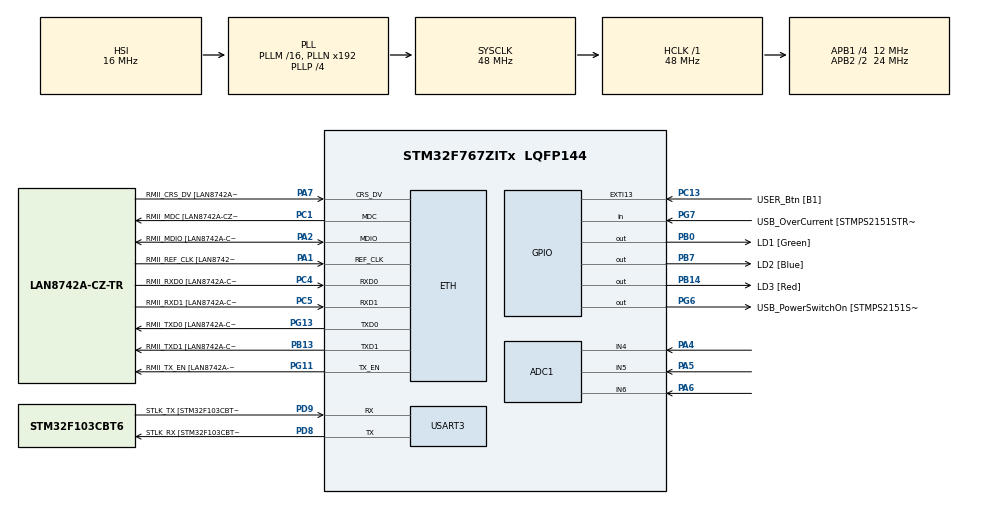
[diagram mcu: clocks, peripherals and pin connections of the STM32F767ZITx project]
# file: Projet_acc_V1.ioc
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ADC1.Channel-0\#ChannelRegularConversion=ADC_CHANNEL_4
ADC1.Channel-1\#ChannelRegularConversion=ADC_CHANNEL_4
ADC1.Channel-3\#ChannelRegularConversion=ADC_CHANNEL_4
ADC1.DMAContinuousRequests=ENABLE
ADC1.ExternalTrigConv=ADC_EXTERNALTRIGCONV_T2_TRGO
ADC1.NbrOfConversion=3
ADC1.NbrOfConversionFlag=1
ADC1.Rank-0\#ChannelRegularConversion=1
ADC1.Rank-1\#ChannelRegularConversion=2
ADC1.Rank-3\#ChannelRegularConversion=3
ADC1.SamplingTime-0\#ChannelRegularConversion=ADC_SAMPLETIME_3CYCLES
ADC1.SamplingTime-1\#ChannelRegularConversion=ADC_SAMPLETIME_3CYCLES
ADC1.SamplingTime-3\#ChannelRegularConversion=ADC_SAMPLETIME_3CYCLES
ADC1.ScanConvMode=ADC_SCAN_ENABLE
ADC1.master=1
Dma.ADC1.0.Direction=DMA_PERIPH_TO_MEMORY
Dma.ADC1.0.FIFOMode=DMA_FIFOMODE_DISABLE
Dma.ADC1.0.Instance=DMA2_Stream0
Dma.ADC1.0.MemDataAlignment=DMA_MDATAALIGN_HALFWORD
Dma.ADC1.0.MemInc=DMA_MINC_ENABLE
Dma.ADC1.0.Mode=DMA_CIRCULAR
Dma.ADC1.0.PeriphDataAlignment=DMA_PDATAALIGN_HALFWORD
Dma.ADC1.0.PeriphInc=DMA_PINC_DISABLE
Dma.ADC1.0.Priority=DMA_PRIORITY_LOW
Dma.Request0=ADC1
ETH.MACAddr=00\:80\:E1\:00\:00\:0B
ETH.MediaInterface=HAL_ETH_RMII_MODE
FREERTOS.Mutexes01=uartMutex,Dynamic,NULL,Available
FREERTOS.Queues01=messageQueue,16,uint32_t,0,Dynamic,NULL,NULL
FREERTOS.Tasks01=defaultTask,0,256,StartDefaultTask,Default,NULL,Dynamic,NULL,NULL;logMessageTask,0,256,LogMessageTask,Default,NULL,Dynamic,NULL,NULL;clientTask,-1,256,StartClientTask,Default,NULL,Dynamic,NULL,NULL;serverTask,-1,256,StartServerTask,Default,NULL,Dynamic,NULL,NULL;heartBeatTask,-3,256,StartHeartBeatTask,Default,NULL,Dynamic,NULL,NULL
FREERTOS.configUSE_NEWLIB_REENTRANT=1
FREERTOS.configUSE_TIMERS=0
LWIP.BSP.number=1
LWIP.GATEWAY_ADDRESS=192.168.001.001
LWIP.IP_ADDRESS=192.168.001.190
LWIP.IP_FORWARD_ALLOW_TX_ON_RX_NETIF=1
LWIP.IP_SOF_BROADCAST=1
LWIP.IP_SOF_BROADCAST_RECV=1
LWIP.LWIP_DHCP=0
LWIP.LWIP_DNS=1
LWIP.LWIP_ICMP=1
LWIP.LWIP_RAW=0
LWIP.LWIP_SINGLE_NETIF=0
LWIP.LWIP_SO_RCVTIMEO=1
LWIP.LWIP_SO_SNDTIMEO=0
LWIP.LWIP_TCPIP_CORE_LOCKING=0
LWIP.MEM_SIZE=16000
LWIP.NETMASK_ADDRESS=255.255.000.000
LWIP.Version=v2.1.2_Cube
LWIP0.BSP.STBoard=false
LWIP0.BSP.api=BSP_COMPONENT_DRIVER
LWIP0.BSP.component=LAN8742
LWIP0.BSP.instance=LAN8742
LWIP0.BSP.name=Driver_PHY
LWIP0.BSP.semaphore=S_LAN8742
LWIP0.BSP.solution=LAN8742
Mcu.Family=STM32F7
Mcu.Name=STM32F767ZITx
Mcu.Package=LQFP144
NVIC.DMA2_Stream0_IRQn=true\:5\:0\:false\:false\:true\:true\:false\:true\:true
NVIC.ETH_IRQn=true\:5\:0\:false\:false\:true\:true\:false\:true\:true
NVIC.PriorityGroup=NVIC_PRIORITYGROUP_4
NVIC.TIM1_UP_TIM10_IRQn=true\:15\:0\:false\:false\:true\:false\:false\:true\:true
NVIC.TimeBase=TIM1_UP_TIM10_IRQn
NVIC.TimeBaseIP=TIM1
PA1.GPIO_Label=RMII_REF_CLK [LAN8742A-CZ-TR_REFCLK0]
PA1.Mode=RMII
PA1.Signal=ETH_REF_CLK
PA10.GPIO_Label=USB_ID
PA10.Signal=USB_OTG_FS_ID
PA11.GPIO_Label=USB_DM
PA11.Signal=USB_OTG_FS_DM
PA12.GPIO_Label=USB_DP
PA12.Signal=USB_OTG_FS_DP
PA13.GPIO_Label=TMS
PA13.Signal=SYS_JTMS-SWDIO
PA14.GPIO_Label=TCK
PA14.Signal=SYS_JTCK-SWCLK
PA2.GPIO_Label=RMII_MDIO [LAN8742A-CZ-TR_MDIO]
PA2.Mode=RMII
PA2.Signal=ETH_MDIO
PA4.Signal=ADCx_IN4
PA5.Signal=ADCx_IN5
PA6.Signal=ADCx_IN6
PA7.GPIO_Label=RMII_CRS_DV [LAN8742A-CZ-TR_CRS_DV]
PA7.Mode=RMII
PA7.Signal=ETH_CRS_DV
PA8.GPIO_Label=USB_SOF [TP1]
PA8.Signal=USB_OTG_FS_SOF
PA9.GPIO_Label=USB_VBUS
PA9.Signal=USB_OTG_FS_VBUS
PB0.GPIO_Label=LD1 [Green]
PB0.Signal=GPIO_Output
PB13.GPIO_Label=RMII_TXD1 [LAN8742A-CZ-TR_TXD1]
PB13.Mode=RMII
PB13.Signal=ETH_TXD1
PB14.GPIO_Label=LD3 [Red]
PB14.Signal=GPIO_Output
PB3.GPIO_Label=SW0
PB3.Signal=SYS_JTDO-SWO
PB7.GPIO_Label=LD2 [Blue]
PB7.Signal=GPIO_Output
PC1.GPIO_Label=RMII_MDC [LAN8742A-CZ-TR_MDC]
PC1.Mode=RMII
PC1.Signal=ETH_MDC
PC13.GPIO_Label=USER_Btn [B1]
PC13.Signal=GPXTI13
PC14/OSC32_IN.Signal=RCC_OSC32_IN
PC15/OSC32_OUT.Signal=RCC_OSC32_OUT
PC4.GPIO_Label=RMII_RXD0 [LAN8742A-CZ-TR_RXD0]
PC4.Mode=RMII
PC4.Signal=ETH_RXD0
PC5.GPIO_Label=RMII_RXD1 [LAN8742A-CZ-TR_RXD1]
PC5.Mode=RMII
PC5.Signal=ETH_RXD1
PD8.GPIO_Label=STLK_RX [STM32F103CBT6_PA3]
PD8.Mode=Asynchronous
PD8.Signal=USART3_TX
PD9.GPIO_Label=STLK_TX [STM32F103CBT6_PA2]
PD9.Mode=Asynchronous
PD9.Signal=USART3_RX
PG11.GPIO_Label=RMII_TX_EN [LAN8742A-CZ-TR_TXEN]
PG11.Mode=RMII
PG11.Signal=ETH_TX_EN
PG13.GPIO_Label=RMII_TXD0 [LAN8742A-CZ-TR_TXD0]
PG13.Mode=RMII
PG13.Signal=ETH_TXD0
PG6.GPIO_Label=USB_PowerSwitchOn [STMPS2151STR_EN]
PG6.Signal=GPIO_Output
PG7.GPIO_Label=USB_OverCurrent [STMPS2151STR_FAULT]
PG7.Signal=GPIO_Input
PH0/OSC_IN.GPIO_Label=MCO [STM32F103CBT6_PA8]
PH0/OSC_IN.Signal=RCC_OSC_IN
PH1/OSC_OUT.Signal=RCC_OSC_OUT
ProjectManager.HeapSize=0x200
ProjectManager.StackSize=0x400
ProjectManager.TargetToolchain=STM32CubeIDE
RCC.48MHZClocksFreq_Value=24000000
RCC.AHBFreq_Value=48000000
RCC.APB1CLKDivider=RCC_HCLK_DIV4
RCC.APB1Freq_Value=12000000
RCC.APB1TimFreq_Value=24000000
RCC.APB2CLKDivider=RCC_HCLK_DIV2
RCC.APB2Freq_Value=24000000
RCC.APB2TimFreq_Value=48000000
RCC.CortexFreq_Value=48000000
RCC.HCLKFreq_Value=48000000
RCC.HSE_VALUE=25000000
RCC.HSI_VALUE=16000000
RCC.LSE_VALUE=32768
RCC.PLLMUL=RCC_PLL_MUL9
RCC.PLLP=RCC_PLLP_DIV4
RCC.PRESCALERUSB=RCC_USBCLKSOURCE_PLL_DIV1_5
RCC.SYSCLKFreq_VALUE=48000000
RCC.SYSCLKSource=RCC_SYSCLKSOURCE_PLLCLK
RCC.SYSCLKSourceVirtual=RCC_SYSCLKSOURCE_PLLCLK
RCC.USART3CLockSelection=RCC_USART3CLKSOURCE_HSI
RCC.USBFreq_Value=96000000
RCC.VCOOutputFreq_Value=192000000
SH.ADCx_IN4.0=ADC1_IN4,IN4
SH.ADCx_IN5.0=ADC1_IN5,IN5
SH.ADCx_IN6.0=ADC1_IN6,IN6
TIM2.Period=99
TIM2.Prescaler=2399
TIM2.TIM_MasterOutputTrigger=TIM_TRGO_UPDATE
USART3.VirtualMode-Asynchronous=VM_ASYNC
VP_FREERTOS_VS_CMSIS_V1.Mode=CMSIS_V1
VP_LWIP_VS_Enabled.Mode=Enabled
VP_RTC_VS_RTC_Activate.Mode=RTC_Enabled
VP_RTC_VS_RTC_Calendar.Mode=RTC_Calendar
VP_SYS_VS_tim1.Mode=TIM1
VP_TIM2_VS_ClockSourceINT.Mode=Internal
board=NUCLEO-F767ZI

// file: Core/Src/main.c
/* USER CODE BEGIN Header */
/* USER CODE END Header */
#include "main.h"
#include "cmsis_os.h"
#include "lwip.h"

/* USER CODE BEGIN Includes */
#include <stdio.h>
#include <string.h>
#include <stdarg.h>

#include "lwip/udp.h"
#include "lwip/ip_addr.h"
#include "lwip/netif.h"
#include "lwip/timeouts.h"   // sys_now()

/* USER CODE END Includes */

ADC_HandleTypeDef hadc1;
DMA_HandleTypeDef hdma_adc1;

RTC_HandleTypeDef hrtc;

TIM_HandleTypeDef htim2;

UART_HandleTypeDef huart3;

osThreadId defaultTaskHandle;
osThreadId logMessageTaskHandle;
osThreadId clientTaskHandle;
osThreadId serverTaskHandle;
osThreadId heartBeatTaskHandle;
osMessageQId messageQueueHandle;
osMutexId uartMutexHandle;
/* USER CODE BEGIN PV */

// ====== ADC DMA acquisition ======
static uint16_t adc_dma_buf[3];          // 3 axes (X,Y,Z)
static volatile uint32_t sample_counter = 0;

// Handle FreeRTOS pour notifier la tâche d'acquisition depuis l'ISR
static TaskHandle_t acquisitionTaskHandle_freertos = NULL;

// ====== Réseau prêt ? ======
static volatile uint8_t net_ready = 0;

// ====== UDP presence ======
static struct udp_pcb *presence_pcb = NULL;

// ====== ID nœud ======
static const char *NODE_ID = "nucleo-01";

/* USER CODE END PV */

void SystemClock_Config(void);
static void MX_GPIO_Init(void);
static void MX_DMA_Init(void);
static void MX_USART3_UART_Init(void);
static void MX_RTC_Init(void);
static void MX_ADC1_Init(void);
static void MX_TIM2_Init(void);
void StartDefaultTask(void const * argument);
void LogMessageTask(void const * argument);
void StartClientTask(void const * argument);
void StartServerTask(void const * argument);
void StartHeartBeatTask(void const * argument);

/* USER CODE BEGIN 0 */

static void log_enqueue(const char *fmt, ...)
{
  // Alloue un message (pointeur envoyé dans la queue)
  char *msg = (char*)pvPortMalloc(160);
  if (!msg) return;

  va_list args;
  va_start(args, fmt);
  vsnprintf(msg, 160, fmt, args);
  va_end(args);

  // On push le pointeur dans la queue CMSIS (uint32_t)
  osMessagePut(messageQueueHandle, (uint32_t)msg, 0);
}

/* USER CODE END 0 */

int main(void)
{

  /* MCU Configuration--------------------------------------------------------*/

  /* Reset of all peripherals, Initializes the Flash interface and the Systick. */
  HAL_Init();

  /* Configure the system clock */
  SystemClock_Config();

  /* Initialize all configured peripherals */
  MX_GPIO_Init();
  MX_DMA_Init();
  MX_USART3_UART_Init();
  MX_RTC_Init();
  MX_ADC1_Init();
  MX_TIM2_Init();

  /* Create the mutex(es) */
  /* definition and creation of uartMutex */
  osMutexDef(uartMutex);
  uartMutexHandle = osMutexCreate(osMutex(uartMutex));

  /* Create the queue(s) */
  /* definition and creation of messageQueue */
  osMessageQDef(messageQueue, 16, uint32_t);
  messageQueueHandle = osMessageCreate(osMessageQ(messageQueue), NULL);

  /* Create the thread(s) */
  /* definition and creation of defaultTask */
  osThreadDef(defaultTask, StartDefaultTask, osPriorityNormal, 0, 256);
  defaultTaskHandle = osThreadCreate(osThread(defaultTask), NULL);

  /* definition and creation of logMessageTask */
  osThreadDef(logMessageTask, LogMessageTask, osPriorityNormal, 0, 256);
  logMessageTaskHandle = osThreadCreate(osThread(logMessageTask), NULL);

  /* definition and creation of clientTask */
  osThreadDef(clientTask, StartClientTask, osPriorityBelowNormal, 0, 256);
  clientTaskHandle = osThreadCreate(osThread(clientTask), NULL);

  /* definition and creation of serverTask */
  osThreadDef(serverTask, StartServerTask, osPriorityBelowNormal, 0, 256);
  serverTaskHandle = osThreadCreate(osThread(serverTask), NULL);

  /* definition and creation of heartBeatTask */
  osThreadDef(heartBeatTask, StartHeartBeatTask, osPriorityIdle, 0, 256);
  heartBeatTaskHandle = osThreadCreate(osThread(heartBeatTask), NULL);

  /* Start scheduler */
  osKernelStart();

  /* We should never get here as control is now taken by the scheduler */

  /* Infinite loop */

}

void SystemClock_Config(void)
{
  RCC_OscInitTypeDef RCC_OscInitStruct = {0};
  RCC_ClkInitTypeDef RCC_ClkInitStruct = {0};

  /** Configure the main internal regulator output voltage
  */
  __HAL_RCC_PWR_CLK_ENABLE();
  __HAL_PWR_VOLTAGESCALING_CONFIG(PWR_REGULATOR_VOLTAGE_SCALE3);

  /** Initializes the RCC Oscillators according to the specified parameters
  * in the RCC_OscInitTypeDef structure.
  */
  RCC_OscInitStruct.OscillatorType = RCC_OSCILLATORTYPE_HSI|RCC_OSCILLATORTYPE_LSI;
  RCC_OscInitStruct.HSIState = RCC_HSI_ON;
  RCC_OscInitStruct.HSICalibrationValue = RCC_HSICALIBRATION_DEFAULT;
  RCC_OscInitStruct.LSIState = RCC_LSI_ON;
  RCC_OscInitStruct.PLL.PLLState = RCC_PLL_ON;
  RCC_OscInitStruct.PLL.PLLSource = RCC_PLLSOURCE_HSI;
  RCC_OscInitStruct.PLL.PLLM = 16;
  RCC_OscInitStruct.PLL.PLLN = 192;
  RCC_OscInitStruct.PLL.PLLP = RCC_PLLP_DIV4;
  RCC_OscInitStruct.PLL.PLLQ = 2;
  RCC_OscInitStruct.PLL.PLLR = 2;
  if (HAL_RCC_OscConfig(&RCC_OscInitStruct) != HAL_OK)
  {
    Error_Handler();
  }

  /** Initializes the CPU, AHB and APB buses clocks
  */
  RCC_ClkInitStruct.ClockType = RCC_CLOCKTYPE_HCLK|RCC_CLOCKTYPE_SYSCLK
                              |RCC_CLOCKTYPE_PCLK1|RCC_CLOCKTYPE_PCLK2;
  RCC_ClkInitStruct.SYSCLKSource = RCC_SYSCLKSOURCE_PLLCLK;
  RCC_ClkInitStruct.AHBCLKDivider = RCC_SYSCLK_DIV1;
  RCC_ClkInitStruct.APB1CLKDivider = RCC_HCLK_DIV4;
  RCC_ClkInitStruct.APB2CLKDivider = RCC_HCLK_DIV2;

  if (HAL_RCC_ClockConfig(&RCC_ClkInitStruct, FLASH_LATENCY_1) != HAL_OK)
  {
    Error_Handler();
  }
}

static void MX_ADC1_Init(void)
{

  ADC_ChannelConfTypeDef sConfig = {0};

  /** Configure the global features of the ADC (Clock, Resolution, Data Alignment and number of conversion)
  */
  hadc1.Instance = ADC1;
  hadc1.Init.ClockPrescaler = ADC_CLOCK_SYNC_PCLK_DIV2;
  hadc1.Init.Resolution = ADC_RESOLUTION_12B;
  hadc1.Init.ScanConvMode = ADC_SCAN_ENABLE;
  hadc1.Init.ContinuousConvMode = DISABLE;
  hadc1.Init.DiscontinuousConvMode = DISABLE;
  hadc1.Init.ExternalTrigConvEdge = ADC_EXTERNALTRIGCONVEDGE_RISING;
  hadc1.Init.ExternalTrigConv = ADC_EXTERNALTRIGCONV_T2_TRGO;
  hadc1.Init.DataAlign = ADC_DATAALIGN_RIGHT;
  hadc1.Init.NbrOfConversion = 3;
  hadc1.Init.DMAContinuousRequests = ENABLE;
  hadc1.Init.EOCSelection = ADC_EOC_SINGLE_CONV;
  if (HAL_ADC_Init(&hadc1) != HAL_OK)
  {
    Error_Handler();
  }

  /** Configure for the selected ADC regular channel its corresponding rank in the sequencer and its sample time.
  */
  sConfig.Channel = ADC_CHANNEL_4;
  sConfig.Rank = ADC_REGULAR_RANK_1;
  sConfig.SamplingTime = ADC_SAMPLETIME_3CYCLES;
  if (HAL_ADC_ConfigChannel(&hadc1, &sConfig) != HAL_OK)
  {
    Error_Handler();
  }

  /** Configure for the selected ADC regular channel its corresponding rank in the sequencer and its sample time.
  */
  sConfig.Rank = ADC_REGULAR_RANK_2;
  if (HAL_ADC_ConfigChannel(&hadc1, &sConfig) != HAL_OK)
  {
    Error_Handler();
  }

  /** Configure for the selected ADC regular channel its corresponding rank in the sequencer and its sample time.
  */
  sConfig.Rank = ADC_REGULAR_RANK_3;
  if (HAL_ADC_ConfigChannel(&hadc1, &sConfig) != HAL_OK)
  {
    Error_Handler();
  }

}

static void MX_RTC_Init(void)
{

  RTC_TimeTypeDef sTime = {0};
  RTC_DateTypeDef sDate = {0};

  /** Initialize RTC Only
  */
  hrtc.Instance = RTC;
  hrtc.Init.HourFormat = RTC_HOURFORMAT_24;
  hrtc.Init.AsynchPrediv = 127;
  hrtc.Init.SynchPrediv = 255;
  hrtc.Init.OutPut = RTC_OUTPUT_DISABLE;
  hrtc.Init.OutPutPolarity = RTC_OUTPUT_POLARITY_HIGH;
  hrtc.Init.OutPutType = RTC_OUTPUT_TYPE_OPENDRAIN;
  if (HAL_RTC_Init(&hrtc) != HAL_OK)
  {
    Error_Handler();
  }

  /** Initialize RTC and set the Time and Date
  */
  sTime.Hours = 0x0;
  sTime.Minutes = 0x0;
  sTime.Seconds = 0x0;
  sTime.DayLightSaving = RTC_DAYLIGHTSAVING_NONE;
  sTime.StoreOperation = RTC_STOREOPERATION_RESET;
  if (HAL_RTC_SetTime(&hrtc, &sTime, RTC_FORMAT_BCD) != HAL_OK)
  {
    Error_Handler();
  }
  sDate.WeekDay = RTC_WEEKDAY_MONDAY;
  sDate.Month = RTC_MONTH_JANUARY;
  sDate.Date = 0x1;
  sDate.Year = 0x0;

  if (HAL_RTC_SetDate(&hrtc, &sDate, RTC_FORMAT_BCD) != HAL_OK)
  {
    Error_Handler();
  }

}

static void MX_TIM2_Init(void)
{

  TIM_ClockConfigTypeDef sClockSourceConfig = {0};
  TIM_MasterConfigTypeDef sMasterConfig = {0};

  htim2.Instance = TIM2;
  htim2.Init.Prescaler = 2399;
  htim2.Init.CounterMode = TIM_COUNTERMODE_UP;
  htim2.Init.Period = 99;
  htim2.Init.ClockDivision = TIM_CLOCKDIVISION_DIV1;
  htim2.Init.AutoReloadPreload = TIM_AUTORELOAD_PRELOAD_DISABLE;
  if (HAL_TIM_Base_Init(&htim2) != HAL_OK)
  {
    Error_Handler();
  }
  sClockSourceConfig.ClockSource = TIM_CLOCKSOURCE_INTERNAL;
  if (HAL_TIM_ConfigClockSource(&htim2, &sClockSourceConfig) != HAL_OK)
  {
    Error_Handler();
  }
  sMasterConfig.MasterOutputTrigger = TIM_TRGO_UPDATE;
  sMasterConfig.MasterSlaveMode = TIM_MASTERSLAVEMODE_DISABLE;
  if (HAL_TIMEx_MasterConfigSynchronization(&htim2, &sMasterConfig) != HAL_OK)
  {
    Error_Handler();
  }

}

static void MX_USART3_UART_Init(void)
{

  huart3.Instance = USART3;
  huart3.Init.BaudRate = 115200;
  huart3.Init.WordLength = UART_WORDLENGTH_8B;
  huart3.Init.StopBits = UART_STOPBITS_1;
  huart3.Init.Parity = UART_PARITY_NONE;
  huart3.Init.Mode = UART_MODE_TX_RX;
  huart3.Init.HwFlowCtl = UART_HWCONTROL_NONE;
  huart3.Init.OverSampling = UART_OVERSAMPLING_16;
  huart3.Init.OneBitSampling = UART_ONE_BIT_SAMPLE_DISABLE;
  huart3.AdvancedInit.AdvFeatureInit = UART_ADVFEATURE_NO_INIT;
  if (HAL_UART_Init(&huart3) != HAL_OK)
  {
    Error_Handler();
  }

}

static void MX_DMA_Init(void)
{

  /* DMA controller clock enable */
  __HAL_RCC_DMA2_CLK_ENABLE();

  /* DMA interrupt init */
  /* DMA2_Stream0_IRQn interrupt configuration */
  HAL_NVIC_SetPriority(DMA2_Stream0_IRQn, 5, 0);
  HAL_NVIC_EnableIRQ(DMA2_Stream0_IRQn);

}

static void MX_GPIO_Init(void)
{
  GPIO_InitTypeDef GPIO_InitStruct = {0};

  /* GPIO Ports Clock Enable */
  __HAL_RCC_GPIOC_CLK_ENABLE();
  __HAL_RCC_GPIOH_CLK_ENABLE();
  __HAL_RCC_GPIOA_CLK_ENABLE();
  __HAL_RCC_GPIOB_CLK_ENABLE();
  __HAL_RCC_GPIOD_CLK_ENABLE();
  __HAL_RCC_GPIOG_CLK_ENABLE();

  /*Configure GPIO pin Output Level */
  HAL_GPIO_WritePin(GPIOB, LD1_Pin|LD3_Pin|LD2_Pin, GPIO_PIN_RESET);

  /*Configure GPIO pin Output Level */
  HAL_GPIO_WritePin(USB_PowerSwitchOn_GPIO_Port, USB_PowerSwitchOn_Pin, GPIO_PIN_RESET);

  /*Configure GPIO pin : USER_Btn_Pin */
  GPIO_InitStruct.Pin = USER_Btn_Pin;
  GPIO_InitStruct.Mode = GPIO_MODE_IT_RISING;
  GPIO_InitStruct.Pull = GPIO_NOPULL;
  HAL_GPIO_Init(USER_Btn_GPIO_Port, &GPIO_InitStruct);

  /*Configure GPIO pins : LD1_Pin LD3_Pin LD2_Pin */
  GPIO_InitStruct.Pin = LD1_Pin|LD3_Pin|LD2_Pin;
  GPIO_InitStruct.Mode = GPIO_MODE_OUTPUT_PP;
  GPIO_InitStruct.Pull = GPIO_NOPULL;
  GPIO_InitStruct.Speed = GPIO_SPEED_FREQ_LOW;
  HAL_GPIO_Init(GPIOB, &GPIO_InitStruct);

  /*Configure GPIO pin : USB_PowerSwitchOn_Pin */
  GPIO_InitStruct.Pin = USB_PowerSwitchOn_Pin;
  GPIO_InitStruct.Mode = GPIO_MODE_OUTPUT_PP;
  GPIO_InitStruct.Pull = GPIO_NOPULL;
  GPIO_InitStruct.Speed = GPIO_SPEED_FREQ_LOW;
  HAL_GPIO_Init(USB_PowerSwitchOn_GPIO_Port, &GPIO_InitStruct);

  /*Configure GPIO pin : USB_OverCurrent_Pin */
  GPIO_InitStruct.Pin = USB_OverCurrent_Pin;
  GPIO_InitStruct.Mode = GPIO_MODE_INPUT;
  GPIO_InitStruct.Pull = GPIO_NOPULL;
  HAL_GPIO_Init(USB_OverCurrent_GPIO_Port, &GPIO_InitStruct);

  /*Configure GPIO pins : USB_SOF_Pin USB_ID_Pin USB_DM_Pin USB_DP_Pin */
  GPIO_InitStruct.Pin = USB_SOF_Pin|USB_ID_Pin|USB_DM_Pin|USB_DP_Pin;
  GPIO_InitStruct.Mode = GPIO_MODE_AF_PP;
  GPIO_InitStruct.Pull = GPIO_NOPULL;
  GPIO_InitStruct.Speed = GPIO_SPEED_FREQ_VERY_HIGH;
  GPIO_InitStruct.Alternate = GPIO_AF10_OTG_FS;
  HAL_GPIO_Init(GPIOA, &GPIO_InitStruct);

  /*Configure GPIO pin : USB_VBUS_Pin */
  GPIO_InitStruct.Pin = USB_VBUS_Pin;
  GPIO_InitStruct.Mode = GPIO_MODE_INPUT;
  GPIO_InitStruct.Pull = GPIO_NOPULL;
  HAL_GPIO_Init(USB_VBUS_GPIO_Port, &GPIO_InitStruct);

}

/* USER CODE BEGIN 4 */
void HAL_ADC_ConvCpltCallback(ADC_HandleTypeDef *hadc)
{
  if (hadc->Instance == ADC1)
  {
    BaseType_t xHigherPriorityTaskWoken = pdFALSE;
    sample_counter++;

    if (acquisitionTaskHandle_freertos != NULL)
    {
      vTaskNotifyGiveFromISR(acquisitionTaskHandle_freertos, &xHigherPriorityTaskWoken);
      portYIELD_FROM_ISR(xHigherPriorityTaskWoken);
    }
  }
}

/* USER CODE END 4 */

void StartDefaultTask(void const * argument)
{
  /* init code for LWIP */
	MX_LWIP_Init();
	net_ready = 1;
  /* USER CODE BEGIN 5 */
 // Log IP actuelle
	extern struct netif gnetif;
	log_enqueue("[MASTER] LwIP init OK. IP=%s\r\n", ip4addr_ntoa(netif_ip4_addr(&gnetif)));

	// 2) Boucle maître (plus tard: bouton start/stop propre)
	for (;;)
	{
	 osDelay(1000);
   }
  /* USER CODE END 5 */
}

void LogMessageTask(void const * argument)
{
  /* USER CODE BEGIN LogMessageTask */
	for (;;)
	  {
	    osEvent evt = osMessageGet(messageQueueHandle, osWaitForever);
	    if (evt.status == osEventMessage)
	    {
	      char *msg = (char*)evt.value.v;
	      if (msg)
	      {
	        osMutexWait(uartMutexHandle, osWaitForever);
	        HAL_UART_Transmit(&huart3, (uint8_t*)msg, (uint16_t)strlen(msg), 200);
	        osMutexRelease(uartMutexHandle);

	        vPortFree(msg);
	      }
	    }
	  }
  /* USER CODE END LogMessageTask */
}

void StartClientTask(void const * argument)
{
  /* USER CODE BEGIN StartClientTask */
	  // Attendre que le réseau soit prêt
	  while (!net_ready) osDelay(50);

	  extern struct netif gnetif;

	  presence_pcb = udp_new_ip_type(IPADDR_TYPE_V4);
	  if (!presence_pcb)
	  {
	    log_enqueue("[PRESENCE] ERROR: udp_new\r\n");
	    for(;;) osDelay(1000);
	  }

	  // Autoriser broadcast
	  ip_set_option(presence_pcb, SOF_BROADCAST);

	  const uint16_t port = 12345;

	  for (;;)
	  {
	    // JSON minimal (timestamp = uptime ms)
	    char payload[220];
	    snprintf(payload, sizeof(payload),
	             "{ \"type\":\"presence\", \"id\":\"%s\", \"ip\":\"%s\", \"timestamp_ms\":%lu }\r\n",
	             NODE_ID,
	             ip4addr_ntoa(netif_ip4_addr(&gnetif)),
	             (unsigned long)sys_now());

	    struct pbuf *p = pbuf_alloc(PBUF_TRANSPORT, (uint16_t)strlen(payload), PBUF_RAM);
	    if (p)
	    {
	      memcpy(p->payload, payload, strlen(payload));

	      ip_addr_t bcast;
	      ip4addr_aton("255.255.255.255", ip_2_ip4(&bcast));

	      udp_sendto(presence_pcb, p, &bcast, port);
	      pbuf_free(p);

	      log_enqueue("[PRESENCE] broadcast sent\r\n");
	    }

	    osDelay(10000); // 10s
	  }
  /* USER CODE END StartClientTask */
}

void StartServerTask(void const * argument)
{
  /* USER CODE BEGIN StartServerTask */
	  // On garde le handle FreeRTOS pour les notifications ISR
	  acquisitionTaskHandle_freertos = xTaskGetCurrentTaskHandle();

	  // Démarre TIM2 (TRGO) + ADC DMA
	  HAL_TIM_Base_Start(&htim2);

	  // Démarre ADC en DMA sur 3 valeurs
	  if (HAL_ADC_Start_DMA(&hadc1, (uint32_t*)adc_dma_buf, 3) != HAL_OK)
	  {
	    log_enqueue("[ADC] ERROR: HAL_ADC_Start_DMA\r\n");
	  }
	  else
	  {
	    log_enqueue("[ADC] DMA started (3ch) @100Hz via TIM2 TRGO\r\n");
	  }

	  for (;;)
	  {
	    // Attend une notif (1 échantillon complet)
	    ulTaskNotifyTake(pdTRUE, portMAX_DELAY);

	    // Ici: tu as adc_dma_buf[0..2] mis à jour
	    uint16_t ax = adc_dma_buf[0];
	    uint16_t ay = adc_dma_buf[1];
	    uint16_t az = adc_dma_buf[2];

	    // Log léger (pas à 100Hz sinon tu floods l’UART)
	    if ((sample_counter % 100) == 0) // 1 fois par seconde
	    {
	      log_enqueue("[ADC] 1s: X=%u Y=%u Z=%u\r\n", ax, ay, az);
	    }
	  }
  /* USER CODE END StartServerTask */
}

void StartHeartBeatTask(void const * argument)
{
  /* USER CODE BEGIN StartHeartBeatTask */
	for (;;)
	  {
	    HAL_GPIO_TogglePin(LD1_GPIO_Port, LD1_Pin); // adapte si tu veux une autre LED
	    osDelay(500);
	  }
  /* USER CODE END StartHeartBeatTask */
}

void HAL_TIM_PeriodElapsedCallback(TIM_HandleTypeDef *htim)
{
  if (htim->Instance == TIM1)
  {
    HAL_IncTick();
  }
}

void Error_Handler(void)
{
}
